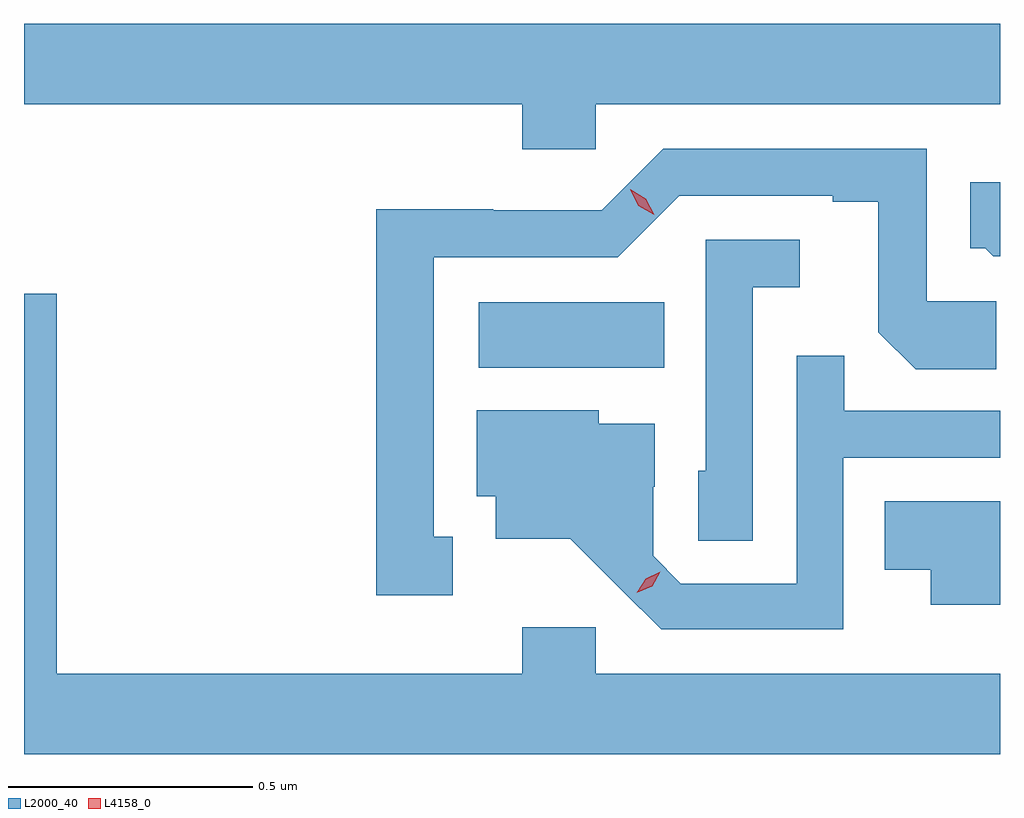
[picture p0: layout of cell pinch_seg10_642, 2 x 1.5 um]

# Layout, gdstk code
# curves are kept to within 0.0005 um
import gdstk
lib = gdstk.Library(unit=1e-6, precision=1e-09)
def R(c, l, rs):  # rectangles x0, y0, x1, y1
    for r in rs: c.add(gdstk.rectangle(r[:2], r[2:], *l))
def P(c, l, *ps):  # polygons
    for p in ps: c.add(gdstk.Polygon(p, *l))
L2000_40 = (2000, 40)
L4158_0 = (4158, 0)

pinch_seg10_642 = lib.new_cell('pinch_seg10_642')
R(pinch_seg10_642, L2000_40, [(346.056,1285.124,346.436,1285.258)])
P(pinch_seg10_642, L2000_40, [(346.296,1285.664),(347.124,1285.664),(347.124,1285.828),(345.124,1285.828),(345.124,1285.664),(346.145,1285.664),(346.145,1285.571),(346.296,1285.571)],
  [(346.003,1284.777),(345.964,1284.777),(345.964,1285.35),(346.341,1285.35),(346.467,1285.476),(346.781,1285.476),(346.781,1285.464),(346.875,1285.464),(346.875,1285.196),(346.951,1285.12),(347.116,1285.12),(347.116,1285.26),(346.974,1285.26),(346.974,1285.572),(346.434,1285.572),(346.308,1285.446),(346.086,1285.446),(346.086,1285.448),(345.846,1285.448),(345.846,1284.657),(346.003,1284.657)],
  [(347.124,1285.504),(347.063,1285.504),(347.063,1285.368),(347.094,1285.368),(347.11,1285.352),(347.124,1285.352)],
  [(346.617,1285.289),(346.714,1285.289),(346.714,1285.386),(346.521,1285.386),(346.521,1284.912),(346.506,1284.912),(346.506,1284.769),(346.617,1284.769)],
  [(347.124,1284.496),(346.296,1284.496),(346.296,1284.592),(346.145,1284.592),(346.145,1284.496),(345.191,1284.496),(345.191,1285.275),(345.124,1285.275),(345.124,1284.332),(347.124,1284.332)],
  [(346.803,1284.939),(347.124,1284.939),(347.124,1285.035),(346.805,1285.035),(346.805,1285.148),(346.707,1285.148),(346.707,1284.681),(346.47,1284.681),(346.413,1284.738),(346.413,1284.88),(346.417,1284.88),(346.417,1285.009),(346.302,1285.009),(346.302,1285.036),(346.052,1285.036),(346.052,1284.86),(346.091,1284.86),(346.091,1284.773),(346.243,1284.773),(346.43,1284.588),(346.803,1284.588)],
  [(347.124,1284.85),(346.888,1284.85),(346.888,1284.71),(346.982,1284.71),(346.982,1284.638),(347.124,1284.638)])
P(pinch_seg10_642, L4158_0, [(346.38,1284.662),(346.38,1284.662),(346.398,1284.691),(346.428,1284.706),(346.428,1284.706),(346.428,1284.706),(346.411,1284.676),(346.38,1284.662)],
  [(346.415,1285.437),(346.383,1285.456),(346.366,1285.489),(346.366,1285.489),(346.366,1285.489),(346.398,1285.47),(346.415,1285.437),(346.415,1285.437)])

lib.write_gds('pinch_seg10_642.gds')
